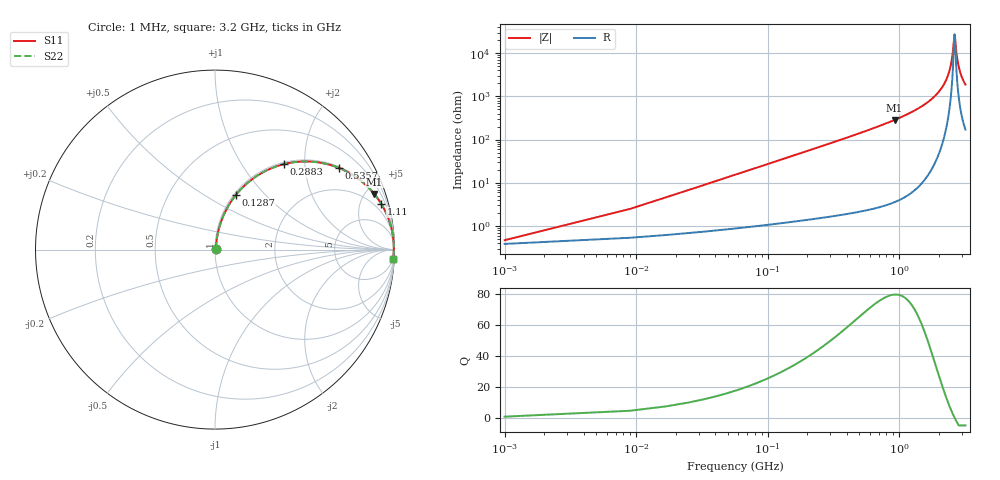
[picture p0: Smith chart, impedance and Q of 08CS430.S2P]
! Coilcraft 0805CS-430 Chip Inductor
! 11 June 2002
# MHZ S MA R 50
!Freq  MagS11  AngS11  MagS21  AngS21  MagS12  AngS12  MagS22  AngS22
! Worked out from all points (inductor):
!   402 points, 1 MHz to 3.2 GHz, reference 50 ohm
!   read as one part in series: L = 43 nH near 16.96 MHz
!   highest Q = 79.9 at 926.7 MHz (marker M1), where L = 49 nH
!   self-resonance near 2.642 GHz
!   S11 on the Smith chart (normalised r, x): 1 MHz: 1.01, +0.01; 128.7 MHz: 1.02, +0.70; 288.3 MHz: 1.03, +1.58; 535.7 MHz: 1.04, +3.02; 1.11 GHz: 1.09, +7.28; 3.2 GHz: 4, -37
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1  0.004686 34.9  0.9962 -0.2  0.9962 -0.2  0.004686 34.9
24.94  0.06712 80.4  0.991 -3.8  0.991 -3.8  0.06712 80.4
40.9  0.1093 79.7  0.9862 -6.3  0.9862 -6.3  0.1093 79.7
72.82  0.1917 76.2  0.9723 -11.0  0.9723 -11.0  0.1917 76.2
128.68  0.3259 69.1  0.9346 -19.0  0.9346 -19.0  0.3259 69.1
200.5  0.4735 60.3  0.8688 -28.3  0.8688 -28.3  0.4735 60.3
288.28  0.613 51.0  0.7776 -37.8  0.7776 -37.8  0.613 51.0
535.66  0.828 33.3  0.5487 -55.9  0.5487 -55.9  0.828 33.3
926.68  0.94 19.2  0.3295 -70.0  0.3295 -70.0  0.94 19.2
1070.32  0.9574 16.1  0.277 -73.2  0.277 -73.2  0.9574 16.1
1110.22  0.9611 15.3  0.2641 -74.0  0.2641 -74.0  0.9611 15.3
1604.98  0.9869 8.3  0.144 -80.6  0.144 -80.6  0.9869 8.3
2139.64  0.9953 3.4  0.05987 -83.7  0.05987 -83.7  0.9953 3.4
2434.9  0.9964 1.3  0.02369 -80.6  0.02369 -80.6  0.9964 1.3
2538.64  0.9964 0.7  0.01232 -72.9  0.01232 -72.9  0.9964 0.7
2634.4  0.9964 0.1  0.003946 -22.4  0.003946 -22.4  0.9964 0.1
2650.36  0.9963 -0.0  0.003678 2.7  0.003678 2.7  0.9963 -0.0
2674.3  0.9963 -0.2  0.00458 35.6  0.00458 35.6  0.9963 -0.2
2754.1  0.9961 -0.6  0.01153 69.8  0.01153 69.8  0.9961 -0.6
2849.86  0.9957 -1.2  0.02077 77.6  0.02077 77.6  0.9957 -1.2
3001.48  0.995 -2.0  0.03511 80.9  0.03511 80.9  0.995 -2.0
3200  0.9938 -3.0  0.05301 81.8  0.05301 81.8  0.9938 -3.0
